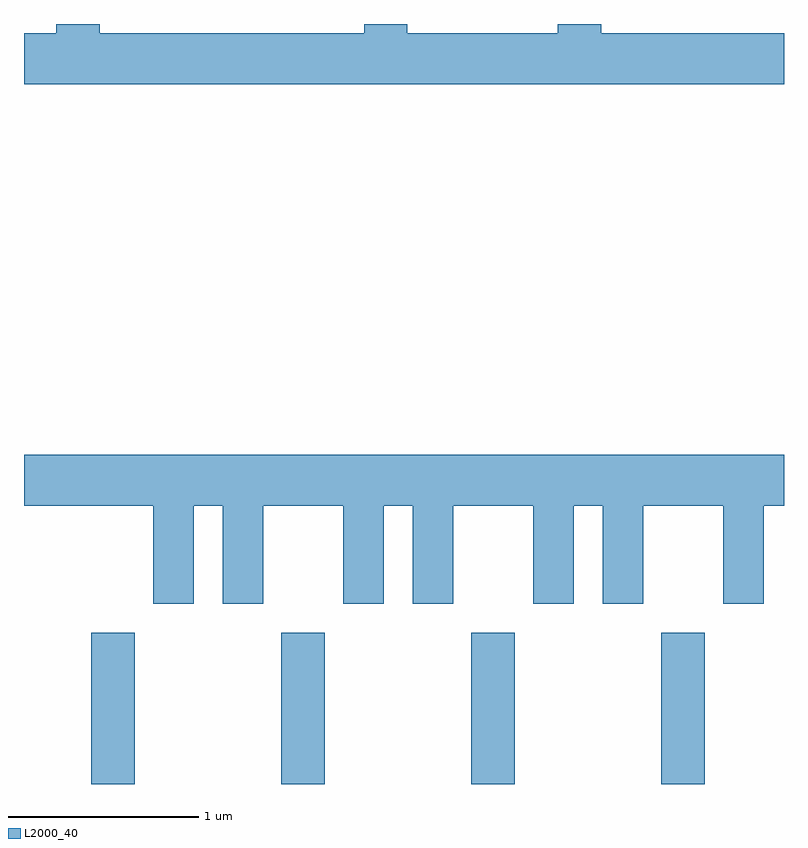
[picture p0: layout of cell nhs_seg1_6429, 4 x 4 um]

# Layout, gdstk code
import gdstk
lib = gdstk.Library(unit=1e-6, precision=1e-09)
def R(c, l, rs):  # rectangles x0, y0, x1, y1
    for r in rs: c.add(gdstk.rectangle(r[:2], r[2:], *l))
def A(c, l, x, y, w, h, nx, ny, dx, dy):  # array of equal rectangles
    R(c, l, [(x+i*dx, y+j*dy, x+i*dx+w, y+j*dy+h) for i in range(nx) for j in range(ny)])
def P(c, l, *ps):  # polygons
    for p in ps: c.add(gdstk.Polygon(p, *l))
L2000_40 = (2000, 40)

nhs_seg1_6429 = lib.new_cell('nhs_seg1_6429')
A(nhs_seg1_6429, L2000_40, 379.966, 853.712, 0.228, 0.797, 4, 1, 1, 0)
P(nhs_seg1_6429, L2000_40, [(383.611,857.664),(382.649,857.664),(382.649,857.712),(382.421,857.712),(382.421,857.664),(381.629,857.664),(381.629,857.712),(381.401,857.712),(381.401,857.664),(380.009,857.664),(380.009,857.712),(379.781,857.712),(379.781,857.664),(379.611,857.664),(379.611,857.396),(383.611,857.396)],
  [(380.504,855.176),(380.656,855.176),(380.656,854.661),(380.869,854.661),(380.869,855.176),(381.291,855.176),(381.291,854.661),(381.504,854.661),(381.504,855.176),(381.656,855.176),(381.656,854.661),(381.869,854.661),(381.869,855.176),(382.291,855.176),(382.291,854.661),(382.504,854.661),(382.504,855.176),(382.656,855.176),(382.656,854.661),(382.869,854.661),(382.869,855.176),(383.291,855.176),(383.291,854.661),(383.504,854.661),(383.504,855.176),(383.611,855.176),(383.611,855.444),(379.611,855.444),(379.611,855.176),(380.291,855.176),(380.291,854.661),(380.504,854.661)])

lib.write_gds('nhs_seg1_6429.gds')
